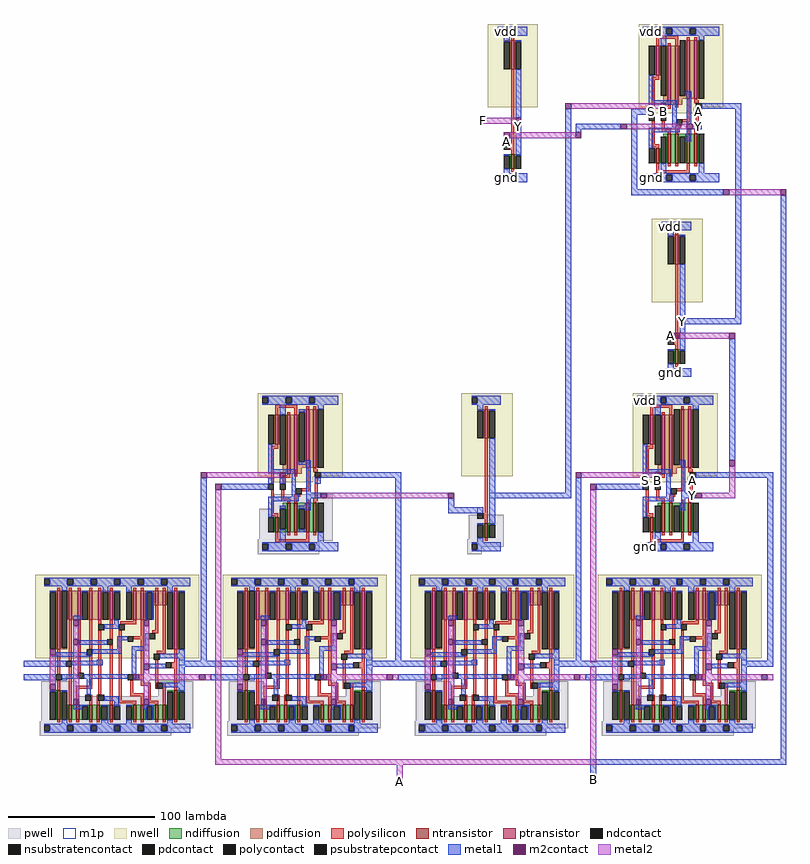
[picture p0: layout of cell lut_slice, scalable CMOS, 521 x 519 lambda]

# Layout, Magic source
magic
tech scmos
<< nwell >>
rect 317 427 351 484
rect 420 427 478 484
rect 431 423 458 427
rect 429 294 464 351
rect 416 175 474 232
rect 427 171 454 175
<< ntransistor >>
rect 333 385 335 395
rect 432 389 434 399
rect 440 389 442 409
rect 445 389 447 409
rect 453 389 455 409
rect 458 389 460 409
rect 445 252 447 262
rect 428 137 430 147
rect 436 137 438 157
rect 441 137 443 157
rect 449 137 451 157
rect 454 137 456 157
<< ptransistor >>
rect 333 453 335 473
rect 432 449 434 469
rect 440 429 442 469
rect 445 429 447 469
rect 453 433 455 473
rect 458 433 460 473
rect 445 320 447 340
rect 428 197 430 217
rect 436 177 438 217
rect 441 177 443 217
rect 449 181 451 221
rect 454 181 456 221
<< ndiffusion >>
rect 437 407 440 409
rect 328 394 333 395
rect 332 385 333 394
rect 335 394 340 395
rect 335 385 336 394
rect 431 389 432 399
rect 434 389 435 399
rect 439 389 440 407
rect 442 389 445 409
rect 447 407 453 409
rect 447 389 448 407
rect 452 389 453 407
rect 455 389 458 409
rect 460 389 461 409
rect 440 261 445 262
rect 444 252 445 261
rect 447 261 452 262
rect 447 252 448 261
rect 433 155 436 157
rect 427 137 428 147
rect 430 137 431 147
rect 435 137 436 155
rect 438 137 441 157
rect 443 155 449 157
rect 443 137 444 155
rect 448 137 449 155
rect 451 137 454 157
rect 456 137 457 157
<< pdiffusion >>
rect 328 472 333 473
rect 332 453 333 472
rect 335 472 340 473
rect 335 453 336 472
rect 431 449 432 469
rect 434 449 435 469
rect 439 435 440 469
rect 437 429 440 435
rect 442 429 445 469
rect 447 435 448 469
rect 452 435 453 473
rect 447 433 453 435
rect 455 433 458 473
rect 460 433 461 473
rect 447 429 450 433
rect 440 339 445 340
rect 444 320 445 339
rect 447 339 452 340
rect 447 320 448 339
rect 427 197 428 217
rect 430 197 431 217
rect 435 183 436 217
rect 433 177 436 183
rect 438 177 441 217
rect 443 183 444 217
rect 448 183 449 221
rect 443 181 449 183
rect 451 181 454 221
rect 456 181 457 221
rect 443 177 446 181
<< ndcontact >>
rect 328 385 332 394
rect 336 385 340 394
rect 427 389 431 399
rect 435 389 439 407
rect 448 389 452 407
rect 461 389 465 409
rect 440 252 444 261
rect 448 252 452 261
rect 423 137 427 147
rect 431 137 435 155
rect 444 137 448 155
rect 457 137 461 157
<< pdcontact >>
rect 328 453 332 472
rect 336 453 340 472
rect 427 449 431 469
rect 435 435 439 469
rect 448 435 452 473
rect 461 433 465 473
rect 440 320 444 339
rect 448 320 452 339
rect 423 197 427 217
rect 431 183 435 217
rect 444 183 448 221
rect 457 181 461 221
<< psubstratepcontact >>
rect 324 377 328 381
rect 423 377 427 381
rect 439 377 443 381
rect 455 377 459 381
rect 436 244 440 248
rect 419 125 423 129
rect 435 125 439 129
rect 451 125 455 129
<< nsubstratencontact >>
rect 324 477 328 481
rect 423 477 427 481
rect 439 477 443 481
rect 455 477 459 481
rect 436 344 440 348
rect 419 225 423 229
rect 435 225 439 229
rect 451 225 455 229
<< polysilicon >>
rect 333 473 335 475
rect 432 474 447 476
rect 432 469 434 474
rect 440 469 442 471
rect 445 469 447 474
rect 453 473 455 475
rect 458 473 460 475
rect 333 402 335 453
rect 432 448 434 449
rect 429 446 434 448
rect 429 422 431 446
rect 440 428 442 429
rect 437 426 442 428
rect 445 427 447 429
rect 437 422 439 426
rect 453 419 455 433
rect 458 432 460 433
rect 458 430 461 432
rect 332 398 335 402
rect 429 402 431 418
rect 436 412 438 418
rect 450 417 455 419
rect 445 413 449 415
rect 436 410 442 412
rect 440 409 442 410
rect 445 409 447 413
rect 459 412 461 426
rect 453 409 455 411
rect 458 410 461 412
rect 458 409 460 410
rect 429 400 434 402
rect 432 399 434 400
rect 333 395 335 398
rect 333 383 335 385
rect 432 384 434 389
rect 440 387 442 389
rect 445 387 447 389
rect 453 384 455 389
rect 458 387 460 389
rect 432 382 455 384
rect 445 340 447 342
rect 445 269 447 320
rect 444 265 447 269
rect 445 262 447 265
rect 445 250 447 252
rect 428 222 443 224
rect 428 217 430 222
rect 436 217 438 219
rect 441 217 443 222
rect 449 221 451 223
rect 454 221 456 223
rect 428 196 430 197
rect 425 194 430 196
rect 425 170 427 194
rect 436 176 438 177
rect 433 174 438 176
rect 441 175 443 177
rect 433 170 435 174
rect 449 167 451 181
rect 454 180 456 181
rect 454 178 457 180
rect 425 150 427 166
rect 432 160 434 166
rect 446 165 451 167
rect 441 161 445 163
rect 432 158 438 160
rect 436 157 438 158
rect 441 157 443 161
rect 455 160 457 174
rect 449 157 451 159
rect 454 158 457 160
rect 454 157 456 158
rect 425 148 430 150
rect 428 147 430 148
rect 428 132 430 137
rect 436 135 438 137
rect 441 135 443 137
rect 449 132 451 137
rect 454 135 456 137
rect 428 130 451 132
<< polycontact >>
rect 427 418 431 422
rect 435 418 439 422
rect 328 398 332 402
rect 446 415 450 419
rect 459 426 463 430
rect 440 265 444 269
rect 423 166 427 170
rect 431 166 435 170
rect 442 163 446 167
rect 455 174 459 178
<< metal1 >>
rect 324 481 344 482
rect 328 477 344 481
rect 324 476 344 477
rect 423 481 475 482
rect 427 477 439 481
rect 443 477 455 481
rect 459 477 475 481
rect 423 476 475 477
rect 328 472 332 476
rect 336 472 340 473
rect 435 469 439 476
rect 461 473 465 476
rect 336 420 340 453
rect 427 432 430 449
rect 452 435 456 438
rect 427 430 446 432
rect 328 402 332 406
rect 328 394 332 395
rect 336 394 340 416
rect 427 429 435 430
rect 439 429 446 430
rect 328 382 332 385
rect 324 381 344 382
rect 328 377 344 381
rect 324 376 344 377
rect 203 174 258 178
rect 121 49 125 174
rect 135 166 167 170
rect 254 49 258 174
rect 370 164 374 426
rect 415 422 431 426
rect 377 412 408 416
rect 377 410 381 412
rect 415 371 419 422
rect 435 422 439 426
rect 443 415 446 429
rect 453 416 456 435
rect 463 426 490 430
rect 459 422 463 426
rect 443 413 448 415
rect 427 410 448 413
rect 457 412 463 416
rect 427 399 430 410
rect 453 409 456 412
rect 452 404 456 409
rect 435 382 439 389
rect 461 382 465 389
rect 423 381 475 382
rect 427 377 439 381
rect 443 377 455 381
rect 459 377 475 381
rect 423 376 475 377
rect 415 367 478 371
rect 436 348 456 349
rect 440 344 456 348
rect 436 343 456 344
rect 440 339 444 343
rect 448 339 452 340
rect 448 283 452 320
rect 486 283 490 426
rect 448 279 490 283
rect 440 269 444 273
rect 440 261 444 262
rect 448 261 452 279
rect 440 249 444 252
rect 436 248 456 249
rect 440 244 456 248
rect 436 243 456 244
rect 419 229 471 230
rect 423 225 435 229
rect 439 225 451 229
rect 455 225 471 229
rect 419 224 471 225
rect 431 217 435 224
rect 457 221 461 224
rect 423 180 426 197
rect 448 183 452 186
rect 423 178 442 180
rect 322 160 374 164
rect 423 177 431 178
rect 435 177 442 178
rect 290 154 294 160
rect 290 150 310 154
rect 377 49 381 174
rect 423 170 427 174
rect 391 166 423 170
rect 431 170 435 174
rect 439 163 442 177
rect 449 164 452 183
rect 482 186 486 269
rect 459 174 512 178
rect 455 170 459 174
rect 439 161 444 163
rect 423 158 444 161
rect 449 160 459 164
rect 423 147 426 158
rect 449 157 452 160
rect 448 152 452 157
rect 431 130 435 137
rect 457 130 461 137
rect 419 129 471 130
rect 423 125 435 129
rect 439 125 451 129
rect 455 125 471 129
rect 419 124 471 125
rect 508 49 512 174
rect 517 -18 521 367
rect 387 -22 521 -18
rect 387 -34 391 -22
<< m2contact >>
rect 336 416 340 420
rect 328 406 332 410
rect 370 426 374 430
rect 435 426 439 430
rect 121 174 125 178
rect 175 174 179 178
rect 131 166 135 170
rect 203 160 207 164
rect 408 412 412 416
rect 377 406 381 410
rect 453 412 457 416
rect 478 367 482 371
rect 517 367 521 371
rect 444 269 448 273
rect 482 269 486 273
rect 290 160 294 164
rect 377 174 381 178
rect 431 174 435 178
rect 387 166 391 170
rect 482 182 486 186
rect 459 160 463 164
<< metal2 >>
rect 374 426 435 430
rect 312 416 336 420
rect 412 412 453 416
rect 332 406 377 410
rect 482 367 517 371
rect 448 269 482 273
rect 125 174 175 178
rect 381 174 431 178
rect 131 -18 135 166
rect 207 160 290 164
rect 387 48 391 166
rect 482 164 486 182
rect 463 160 486 164
rect 387 -18 391 45
rect 131 -22 391 -18
rect 255 -35 259 -22
<< m1p >>
rect 427 422 431 426
rect 435 422 439 426
rect 459 422 463 426
rect 336 412 340 416
rect 459 412 463 416
rect 328 402 332 406
rect 448 279 452 283
rect 440 269 444 273
rect 423 170 427 174
rect 431 170 435 174
rect 455 170 459 174
rect 455 160 459 164
use MUX2X1  MUX2X1_0
transform 1 0 165 0 1 127
box -5 -3 53 105
use INVX1  INVX1_0
transform 1 0 308 0 1 127
box -9 -3 26 105
use shift_lut_slice  shift_lut_slice_0
array 0 3 128 0 0 108
transform 1 0 8 0 1 0
box -8 0 120 108
<< labels >>
rlabel metal1 425 172 425 172 1 S
rlabel metal1 425 227 425 227 6 vdd
rlabel metal1 425 127 425 127 8 gnd
rlabel metal1 457 162 457 162 1 Y
rlabel metal1 457 172 457 172 1 A
rlabel metal1 433 172 433 172 1 B
rlabel metal1 442 271 442 271 6 A
rlabel metal1 450 281 450 281 6 Y
rlabel metal1 442 346 442 346 6 vdd
rlabel metal1 442 246 442 246 8 gnd
rlabel metal1 429 424 429 424 1 S
rlabel metal1 429 479 429 479 6 vdd
rlabel metal1 429 379 429 379 8 gnd
rlabel metal1 461 414 461 414 1 Y
rlabel metal1 461 424 461 424 1 A
rlabel metal1 437 424 437 424 1 B
rlabel metal1 387 -34 391 -30 0 B
rlabel metal2 255 -35 259 -31 0 A
rlabel metal2 312 416 316 420 0 F
rlabel metal1 330 379 330 379 8 gnd
rlabel metal1 330 479 330 479 6 vdd
rlabel metal1 338 414 338 414 6 Y
rlabel metal1 330 404 330 404 6 A
<< end >>

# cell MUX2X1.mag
magic
tech scmos
<< nwell >>
rect -5 48 53 105
rect 6 44 33 48
<< pwell >>
rect 6 34 46 36
rect 4 26 46 34
rect -4 5 46 26
rect -5 4 46 5
rect -5 -5 37 4
<< ntransistor >>
rect 7 10 9 20
rect 15 10 17 30
rect 20 10 22 30
rect 28 10 30 30
rect 33 10 35 30
<< ptransistor >>
rect 7 70 9 90
rect 15 50 17 90
rect 20 50 22 90
rect 28 54 30 94
rect 33 54 35 94
<< ndiffusion >>
rect 12 28 15 30
rect 10 26 15 28
rect 6 10 7 20
rect 9 12 10 20
rect 14 12 15 26
rect 9 10 15 12
rect 17 10 20 30
rect 22 26 28 30
rect 22 12 23 26
rect 27 12 28 26
rect 22 10 28 12
rect 30 10 33 30
rect 35 10 36 30
<< pdiffusion >>
rect 23 92 28 94
rect 6 70 7 90
rect 9 70 10 90
rect 14 56 15 90
rect 12 50 15 56
rect 17 50 20 90
rect 22 58 23 90
rect 27 58 28 92
rect 22 54 28 58
rect 30 54 33 94
rect 35 54 36 94
rect 22 50 25 54
<< ndcontact >>
rect 2 10 6 20
rect 10 12 14 26
rect 23 12 27 26
rect 36 10 40 30
<< pdcontact >>
rect 2 70 6 90
rect 10 56 14 90
rect 23 58 27 92
rect 36 54 40 94
<< psubstratepcontact >>
rect -2 -2 2 2
rect 14 -2 18 2
rect 30 -2 34 2
<< nsubstratencontact >>
rect -2 98 2 102
rect 14 98 18 102
rect 30 98 34 102
<< polysilicon >>
rect 7 95 22 97
rect 7 90 9 95
rect 15 90 17 92
rect 20 90 22 95
rect 28 94 30 96
rect 33 94 35 96
rect 7 69 9 70
rect 4 67 9 69
rect 4 43 6 67
rect 15 49 17 50
rect 12 47 17 49
rect 20 48 22 50
rect 12 43 14 47
rect 28 40 30 54
rect 33 53 35 54
rect 33 51 36 53
rect 4 23 6 39
rect 11 33 13 39
rect 25 38 30 40
rect 20 34 24 36
rect 11 31 17 33
rect 15 30 17 31
rect 20 30 22 34
rect 34 33 36 47
rect 28 30 30 32
rect 33 31 36 33
rect 33 30 35 31
rect 4 21 9 23
rect 7 20 9 21
rect 7 5 9 10
rect 15 8 17 10
rect 20 8 22 10
rect 28 5 30 10
rect 33 8 35 10
rect 7 3 30 5
<< polycontact >>
rect 2 39 6 43
rect 10 39 14 43
rect 21 36 25 40
rect 34 47 38 51
<< metal1 >>
rect -2 102 50 103
rect 2 98 14 102
rect 18 98 30 102
rect 34 98 50 102
rect -2 97 50 98
rect 10 90 14 97
rect 36 94 40 97
rect 2 53 5 70
rect 23 92 27 94
rect 27 58 31 59
rect 23 56 31 58
rect 2 50 21 53
rect 2 43 6 47
rect 10 43 14 47
rect 18 36 21 50
rect 28 37 31 56
rect 34 43 38 47
rect 18 34 23 36
rect 2 31 23 34
rect 28 33 38 37
rect 2 20 5 31
rect 28 30 31 33
rect 27 28 31 30
rect 10 26 14 28
rect 10 3 14 12
rect 23 26 31 28
rect 27 25 31 26
rect 23 10 27 12
rect 36 3 40 10
rect -2 2 50 3
rect 2 -2 14 2
rect 18 -2 30 2
rect 34 -2 50 2
rect -2 -3 50 -2
<< m1p >>
rect 2 43 6 47
rect 10 43 14 47
rect 34 43 38 47
rect 34 33 38 37
<< labels >>
rlabel metal1 4 45 4 45 6 S
rlabel metal1 4 100 4 100 6 vdd
rlabel metal1 4 0 4 0 8 gnd
rlabel metal1 36 35 36 35 6 Y
rlabel metal1 36 45 36 45 6 A
rlabel metal1 12 45 12 45 6 B
<< end >>

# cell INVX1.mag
magic
tech scmos
<< nwell >>
rect -9 48 26 105
<< pwell >>
rect -4 5 20 22
rect -5 0 20 5
rect -5 -5 5 0
<< ntransistor >>
rect 7 6 9 16
<< ptransistor >>
rect 7 74 9 94
<< ndiffusion >>
rect 2 15 7 16
rect 6 6 7 15
rect 9 15 14 16
rect 9 6 10 15
<< pdiffusion >>
rect 2 93 7 94
rect 6 74 7 93
rect 9 93 14 94
rect 9 74 10 93
<< ndcontact >>
rect 2 6 6 15
rect 10 6 14 15
<< pdcontact >>
rect 2 74 6 93
rect 10 74 14 93
<< psubstratepcontact >>
rect -2 -2 2 2
<< nsubstratencontact >>
rect -2 98 2 102
<< polysilicon >>
rect 7 94 9 96
rect 7 23 9 74
rect 6 19 9 23
rect 7 16 9 19
rect 7 4 9 6
<< polycontact >>
rect 2 19 6 23
<< metal1 >>
rect -2 102 18 103
rect 2 98 18 102
rect -2 97 18 98
rect 2 93 6 97
rect 10 93 14 94
rect 2 23 6 27
rect 2 15 6 16
rect 10 15 14 74
rect 2 3 6 6
rect -2 2 18 3
rect 2 -2 18 2
rect -2 -3 18 -2
<< m1p >>
rect 10 33 14 37
rect 2 23 6 27
<< labels >>
rlabel metal1 4 25 4 25 6 A
rlabel metal1 12 35 12 35 6 Y
rlabel metal1 4 100 4 100 6 vdd
rlabel metal1 4 0 4 0 8 gnd
<< end >>

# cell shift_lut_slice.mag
magic
tech scmos
<< metal1 >>
rect -8 45 21 49
rect 102 45 120 49
rect -8 36 14 40
<< m2contact >>
rect 67 36 71 40
rect 112 36 116 40
<< metal2 >>
rect 71 36 112 40
rect 116 36 120 40
use DFFPOSX1  DFFPOSX1_0
transform 1 0 8 0 1 3
box -8 -3 104 105
<< labels >>
rlabel metal1 -8 45 -4 49 0 L_IN
rlabel metal1 -8 36 -4 40 0 LCLKI
rlabel metal1 116 45 120 49 0 L_OUT
rlabel metal2 116 36 120 40 0 LCLKO
<< end >>

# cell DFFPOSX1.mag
magic
tech scmos
<< nwell >>
rect -8 48 104 105
<< pwell >>
rect -4 22 20 32
rect 76 22 100 32
rect -4 5 100 22
rect -5 0 100 5
rect -5 -5 85 0
<< ntransistor >>
rect 7 6 9 26
rect 15 6 17 16
rect 20 6 22 16
rect 29 6 31 16
rect 34 6 36 16
rect 43 6 45 16
rect 59 6 61 16
rect 64 6 66 16
rect 74 6 76 16
rect 79 6 81 16
rect 87 6 89 26
<< ptransistor >>
rect 7 54 9 94
rect 15 74 17 94
rect 21 74 23 94
rect 29 74 31 94
rect 35 74 37 94
rect 43 74 45 94
rect 59 74 61 94
rect 64 74 66 94
rect 74 84 76 94
rect 79 84 81 94
rect 87 54 89 94
<< ndiffusion >>
rect 2 25 7 26
rect 6 6 7 25
rect 9 25 14 26
rect 9 6 10 25
rect 82 25 87 26
rect 14 6 15 16
rect 17 6 20 16
rect 22 15 29 16
rect 22 6 24 15
rect 28 6 29 15
rect 31 6 34 16
rect 36 15 43 16
rect 36 6 37 15
rect 41 6 43 15
rect 45 15 50 16
rect 45 6 46 15
rect 54 15 59 16
rect 58 6 59 15
rect 61 6 64 16
rect 66 15 74 16
rect 66 6 68 15
rect 72 6 74 15
rect 76 6 79 16
rect 81 6 82 16
rect 86 6 87 25
rect 89 25 94 26
rect 89 6 90 25
<< pdiffusion >>
rect 2 93 7 94
rect 6 54 7 93
rect 9 55 10 94
rect 14 74 15 94
rect 17 74 21 94
rect 23 93 29 94
rect 23 74 24 93
rect 28 74 29 93
rect 31 74 35 94
rect 37 93 43 94
rect 37 74 38 93
rect 42 74 43 93
rect 45 93 50 94
rect 45 74 46 93
rect 54 93 59 94
rect 58 74 59 93
rect 61 74 64 94
rect 66 93 74 94
rect 66 74 68 93
rect 72 84 74 93
rect 76 84 79 94
rect 81 93 87 94
rect 81 84 82 93
rect 72 74 73 84
rect 9 54 14 55
rect 86 54 87 93
rect 89 93 94 94
rect 89 54 90 93
<< ndcontact >>
rect 2 6 6 25
rect 10 6 14 25
rect 24 6 28 15
rect 37 6 41 15
rect 46 6 50 15
rect 54 6 58 15
rect 68 6 72 15
rect 82 6 86 25
rect 90 6 94 25
<< pdcontact >>
rect 2 54 6 93
rect 10 55 14 94
rect 24 74 28 93
rect 38 74 42 93
rect 46 74 50 93
rect 54 74 58 93
rect 68 74 72 93
rect 82 54 86 93
rect 90 54 94 93
<< psubstratepcontact >>
rect -2 -2 2 2
rect 14 -2 18 2
rect 30 -2 34 2
rect 46 -2 50 2
rect 62 -2 66 2
rect 78 -2 82 2
<< nsubstratencontact >>
rect -2 98 2 102
rect 14 98 18 102
rect 30 98 34 102
rect 46 98 50 102
rect 62 98 66 102
rect 78 98 82 102
<< polysilicon >>
rect 7 94 9 96
rect 15 94 17 96
rect 21 94 23 96
rect 29 94 31 96
rect 35 94 37 96
rect 43 94 45 96
rect 59 94 61 96
rect 64 94 66 96
rect 74 94 76 96
rect 79 94 81 96
rect 87 94 89 96
rect 7 37 9 54
rect 15 46 17 74
rect 7 26 9 33
rect 15 16 17 42
rect 21 38 23 74
rect 29 54 31 74
rect 29 29 31 50
rect 20 27 31 29
rect 35 71 37 74
rect 20 16 22 27
rect 35 23 37 67
rect 43 61 45 74
rect 59 73 61 74
rect 50 71 61 73
rect 30 19 31 23
rect 29 16 31 19
rect 34 19 35 23
rect 34 16 36 19
rect 43 16 45 57
rect 49 19 51 67
rect 64 63 66 74
rect 74 67 76 84
rect 72 65 76 67
rect 59 61 66 63
rect 57 24 59 33
rect 64 31 66 61
rect 79 53 81 84
rect 75 51 81 53
rect 74 31 76 47
rect 87 45 89 54
rect 85 41 89 45
rect 64 29 71 31
rect 57 22 66 24
rect 49 17 61 19
rect 59 16 61 17
rect 64 16 66 22
rect 69 19 71 29
rect 74 27 75 31
rect 69 17 76 19
rect 74 16 76 17
rect 79 16 81 31
rect 87 26 89 41
rect 7 4 9 6
rect 15 4 17 6
rect 20 4 22 6
rect 29 4 31 6
rect 34 4 36 6
rect 43 4 45 6
rect 59 4 61 6
rect 64 4 66 6
rect 74 4 76 6
rect 79 4 81 6
rect 87 4 89 6
<< polycontact >>
rect 13 42 17 46
rect 6 33 10 37
rect 27 50 31 54
rect 21 34 25 38
rect 35 67 39 71
rect 41 57 45 61
rect 26 19 30 23
rect 35 19 39 23
rect 49 67 53 71
rect 55 59 59 63
rect 70 61 74 65
rect 55 33 59 37
rect 73 47 77 51
rect 81 41 85 45
rect 75 27 79 31
<< metal1 >>
rect -2 102 98 103
rect 2 98 14 102
rect 18 98 30 102
rect 34 98 46 102
rect 50 98 62 102
rect 66 98 78 102
rect 82 98 98 102
rect -2 97 98 98
rect 10 94 14 97
rect 2 93 6 94
rect 24 93 28 94
rect 18 74 24 77
rect 38 93 42 97
rect 46 93 50 94
rect 54 93 58 97
rect 67 93 73 94
rect 67 74 68 93
rect 72 74 73 93
rect 82 93 86 97
rect 46 71 49 74
rect 39 68 49 71
rect 22 57 41 60
rect 48 60 55 63
rect 48 54 51 60
rect 67 56 70 65
rect 6 50 27 52
rect 31 51 51 54
rect 58 53 70 56
rect 90 93 94 94
rect 2 49 30 50
rect 34 46 38 47
rect 17 43 38 46
rect 10 34 21 37
rect 58 37 61 53
rect 90 51 94 54
rect 77 48 94 51
rect 70 41 81 44
rect 25 34 55 37
rect 2 25 6 26
rect 10 25 14 26
rect 27 23 30 34
rect 59 34 61 37
rect 90 31 94 48
rect 79 28 94 31
rect 90 25 94 28
rect 39 19 49 22
rect 46 16 49 19
rect 18 15 28 16
rect 18 13 24 15
rect 37 15 42 16
rect 41 6 42 15
rect 46 15 50 16
rect 54 15 58 16
rect 66 15 73 16
rect 66 13 68 15
rect 67 6 68 13
rect 72 6 73 15
rect 10 3 14 6
rect 37 3 42 6
rect 54 3 58 6
rect 82 3 86 6
rect -2 2 98 3
rect 2 -2 14 2
rect 18 -2 30 2
rect 34 -2 46 2
rect 50 -2 62 2
rect 66 -2 78 2
rect 82 -2 98 2
rect -2 -3 98 -2
<< m2contact >>
rect 18 70 22 74
rect 66 70 70 74
rect 18 57 22 61
rect 2 50 6 54
rect 66 40 70 44
rect 2 26 6 30
rect 18 16 22 20
rect 66 16 70 20
<< metal2 >>
rect 18 61 22 70
rect 2 30 6 50
rect 18 20 22 57
rect 66 44 70 70
rect 66 20 70 40
<< m1p >>
rect 34 43 38 47
rect 90 43 94 47
rect 10 33 14 37
<< labels >>
rlabel metal1 4 100 4 100 6 vdd
rlabel m1p 36 45 36 45 6 D
rlabel metal1 4 0 4 0 8 gnd
rlabel m1p 92 45 92 45 6 Q
rlabel m1p 12 35 12 35 6 CLK
<< end >>
